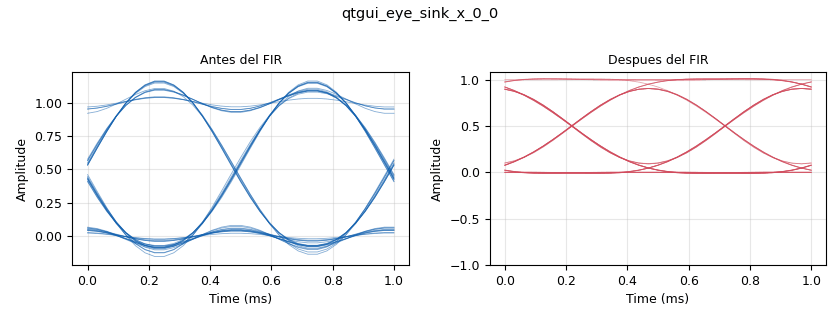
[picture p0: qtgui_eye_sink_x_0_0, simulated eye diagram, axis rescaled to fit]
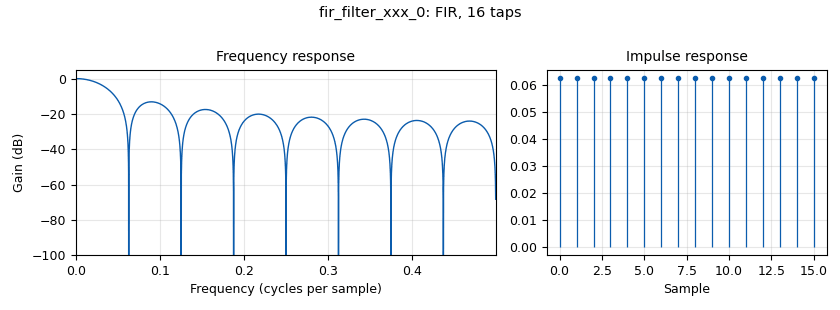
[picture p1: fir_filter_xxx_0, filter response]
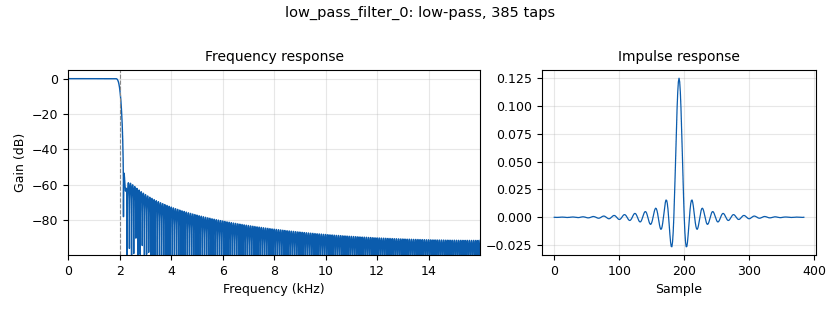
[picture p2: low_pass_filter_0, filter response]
options:
  parameters:
    generate_options: qt_gui
    id: digital_baseband
    output_language: python
    title: Not titled yet
  states: {}

blocks:
- name: bandwidth
  id: variable_qtgui_dial_control
  parameters:
    gui_hint: '[0,5,1,1]'
    label: Bandwidth
    maximum: '80'
    minimum: '5'
    relBackgroundColor: teal
    scaleFactor: '100'
    showvalue: 'True'
    type: real
    value: '2000'
  states: {}
- name: noise
  id: variable_qtgui_dial_control
  parameters:
    gui_hint: '[1,5,1,1]'
    label: Noise
    maximum: '100'
    minimum: '0'
    scaleFactor: '.002'
    showvalue: 'True'
    type: real
    value: '0'
  states: {}
- name: samp_rate
  id: variable
  parameters:
    value: '32000'
  states: {}
- name: analog_noise_source_x_0
  id: analog_noise_source_x
  parameters:
    amp: noise
    noise_type: analog.GR_GAUSSIAN
    seed: '0'
    type: float
  states: {}
- name: analog_random_source_x_0
  id: analog_random_source_x
  parameters:
    max: '2'
    min: '0'
    num_samps: '128'
    repeat: 'True'
    type: byte
  states: {}
- name: blocks_add_xx_0
  id: blocks_add_xx
  parameters:
    type: float
  states: {}
- name: blocks_char_to_float_0
  id: blocks_char_to_float
  parameters:
    scale: '1'
  states: {}
- name: blocks_delay_0
  id: blocks_delay
  parameters:
    delay: '8'
    type: float
  states: {state: disabled}
- name: blocks_delay_0_0
  id: blocks_delay
  parameters:
    delay: '0'
    type: float
  states: {state: disabled}
- name: blocks_repeat_0
  id: blocks_repeat
  parameters:
    interp: '16'
    type: float
  states: {}
- name: blocks_throttle2_0
  id: blocks_throttle2
  parameters:
    samples_per_second: samp_rate
    type: float
  states: {}
- name: fir_filter_xxx_0
  id: fir_filter_xxx
  parameters:
    decim: '1'
    taps: '[1.0 / 16] * 16'
    type: fff
  states: {}
- name: low_pass_filter_0
  id: low_pass_filter
  parameters:
    cutoff_freq: bandwidth
    decim: '1'
    gain: '1'
    samp_rate: samp_rate
    type: fir_filter_fff
    width: bandwidth/10
    win: window.WIN_HAMMING
  states: {}
- name: qtgui_eye_sink_x_0
  id: qtgui_eye_sink_x
  parameters:
    color1: red
    label1: Despues del FIR
    samp_per_symbol: '16'
    size: '1024'
    srate: samp_rate
    type: float
  states: {state: disabled}
- name: qtgui_eye_sink_x_0_0
  id: qtgui_eye_sink_x
  parameters:
    color1: red
    color2: red
    label1: Antes del FIR
    label2: Despues del FIR
    nconnections: '2'
    samp_per_symbol: '16'
    size: '1024'
    srate: samp_rate
    type: float
  states: {}
- name: qtgui_time_sink_x_0
  id: qtgui_time_sink_x
  parameters:
    nconnections: '2'
    size: '2048'
    srate: samp_rate
    type: float
  states: {state: disabled}

connections:
- [analog_noise_source_x_0, '0', blocks_add_xx_0, '1']
- [analog_random_source_x_0, '0', blocks_char_to_float_0, '0']
- [blocks_add_xx_0, '0', blocks_delay_0, '0']
- [blocks_add_xx_0, '0', fir_filter_xxx_0, '0']
- [blocks_add_xx_0, '0', qtgui_eye_sink_x_0_0, '0']
- [blocks_add_xx_0, '0', qtgui_time_sink_x_0, '0']
- [blocks_char_to_float_0, '0', blocks_repeat_0, '0']
- [blocks_delay_0, '0', qtgui_time_sink_x_0, '0']
- [blocks_delay_0_0, '0', qtgui_time_sink_x_0, '1']
- [blocks_repeat_0, '0', blocks_throttle2_0, '0']
- [blocks_throttle2_0, '0', low_pass_filter_0, '0']
- [fir_filter_xxx_0, '0', blocks_delay_0_0, '0']
- [fir_filter_xxx_0, '0', qtgui_eye_sink_x_0, '0']
- [fir_filter_xxx_0, '0', qtgui_eye_sink_x_0_0, '1']
- [low_pass_filter_0, '0', blocks_add_xx_0, '0']

metadata:
  file_format: 1
  grc_version: 3.10.10.0
